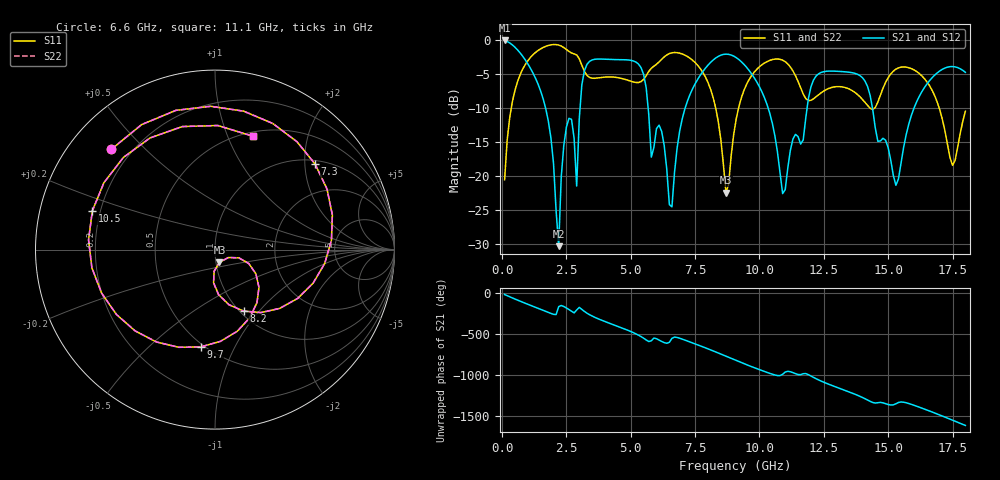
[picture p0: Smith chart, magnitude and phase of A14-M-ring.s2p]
! yapnr rf coupon A: A14 RING M (ring, family M)
! stackup JLC04161H-7628, nominal parameters; reference planes 10 mm from each end; 50 ohm (renormalized from the line's Zc)
! model: 2D quasi-static RLGC (Djordjevic-Sarkar, Huray roughness, Wheeler loss); generated by python -m yapnr.rf.coupons expected
# GHz S DB R 50
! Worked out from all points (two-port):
!   180 points, 100 MHz to 18 GHz, reference 50 ohm
!   highest |S21| = -0.09 dB at 100 MHz (marker M1); lowest = -30.3 dB at 2.2 GHz (marker M2)
!   |S21| within 3 dB of the highest: 3.432 GHz to 5.094 GHz (1.662 GHz wide, 39 % of centre); 8.165 GHz to 9.259 GHz (1.095 GHz wide, 12.6 % of centre)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
!   lowest |S11| = -22.4 dB at 8.7 GHz (marker M3), VSWR 1.16, Z = 52 - j7.45 ohm
!   |S11| at or under -10 dB: start of sweep to 360.4 MHz; 8.301 GHz to 9.189 GHz (888.7 MHz wide, 10.2 % of centre); 16.98 GHz to end of sweep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
!   |S22| runs from -22.4 to -0.7 dB; largest |S21 - S12| = 0
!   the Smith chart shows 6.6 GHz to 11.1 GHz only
!   S11 on the Smith chart (normalised r, x): 6.6 GHz: 0.13, +0.40; 7.3 GHz: 1.09, +2.26; 8.2 GHz: 1.04, -0.83; 9.7 GHz: 0.48, -0.74; 10.5 GHz: 0.17, +0.15; 11.1 GHz: 0.55, +1.24
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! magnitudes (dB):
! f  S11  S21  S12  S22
! 100 MHz  -20.5  -0.1  -0.1  -20.5
! 600 MHz  -6.2  -1.5  -1.5  -6.2
! 1.7 GHz  -0.9  -10.1  -10.1  -0.9
! 2.2 GHz  -0.8  -30.3  -30.3  -0.8
! 2.6 GHz  -1.7  -11.5  -11.5  -1.7
! 2.9 GHz  -2.2  -21.5  -21.5  -2.2
! 3.1 GHz  -3.7  -6.6  -6.6  -3.7
! 5.2 GHz  -6.3  -3.3  -3.3  -6.3
! 6.1 GHz  -3.2  -12.5  -12.5  -3.2
! 6.6 GHz  -1.9  -24.5  -24.5  -1.9
! 7.3 GHz  -2.7  -8.0  -8.0  -2.7
! 8.2 GHz  -8.5  -3.0  -3.0  -8.5
! 8.7 GHz  -22.4  -2.1  -2.1  -22.4
! 9.1 GHz  -11.6  -2.6  -2.6  -11.6
! 9.7 GHz  -5.2  -5.0  -5.0  -5.2
! 10.5 GHz  -2.9  -12.2  -12.2  -2.9
! 11.1 GHz  -3.5  -18.8  -18.8  -3.5
! 12.1 GHz  -8.6  -5.9  -5.9  -8.6
! 14 GHz  -8.7  -5.5  -5.5  -8.7
! 15.1 GHz  -5.0  -17.6  -17.6  -5.0
! 17.5 GHz  -18.4  -3.9  -3.9  -18.4
! 18 GHz  -10.5  -4.8  -4.8  -10.5
